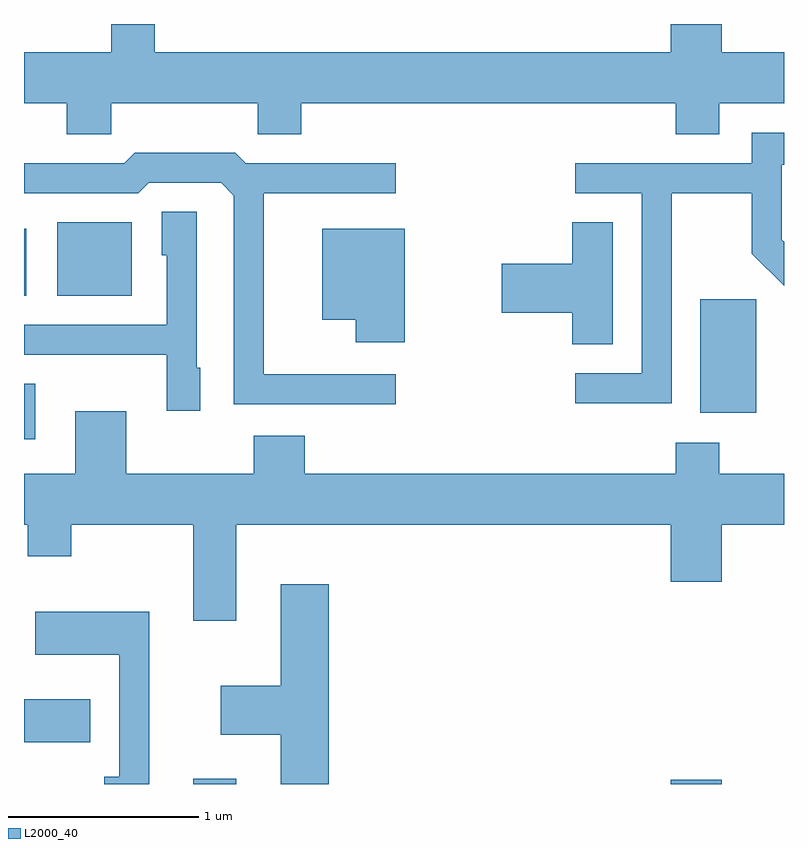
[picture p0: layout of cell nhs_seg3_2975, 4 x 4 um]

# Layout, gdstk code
import gdstk
lib = gdstk.Library(unit=1e-6, precision=1e-09)
def R(c, l, rs):  # rectangles x0, y0, x1, y1
    for r in rs: c.add(gdstk.rectangle(r[:2], r[2:], *l))
def P(c, l, *ps):  # polygons
    for p in ps: c.add(gdstk.Polygon(p, *l))
L2000_40 = (2000, 40)

nhs_seg3_2975 = lib.new_cell('nhs_seg3_2975')
R(nhs_seg3_2975, L2000_40, [(272.501,1217.892,272.729,1217.919), (275.016,1217.892,275.284,1217.914), (271.611,1218.111,271.959,1218.339), (271.611,1219.706,271.669,1219.999), (275.171,1219.846,275.464,1220.444), (271.611,1220.461,271.624,1220.814), (271.786,1220.461,272.179,1220.849)])
P(nhs_seg3_2975, L2000_40, [(272.069,1221.476),(272.841,1221.476),(272.841,1221.311),(273.069,1221.311),(273.069,1221.476),(275.041,1221.476),(275.041,1221.311),(275.269,1221.311),(275.269,1221.476),(275.611,1221.476),(275.611,1221.744),(275.284,1221.744),(275.284,1221.892),(275.016,1221.892),(275.016,1221.744),(272.299,1221.744),(272.299,1221.892),(272.071,1221.892),(272.071,1221.744),(271.611,1221.744),(271.611,1221.476),(271.836,1221.476),(271.836,1221.311),(272.069,1221.311)],
  [(275.019,1221.001),(275.441,1221.001),(275.441,1220.684),(275.611,1220.514),(275.611,1220.745),(275.599,1220.757),(275.599,1221.151),(275.611,1221.151),(275.611,1221.319),(275.441,1221.319),(275.441,1221.159),(274.513,1221.159),(274.513,1221.001),(274.861,1221.001),(274.861,1220.054),(274.513,1220.054),(274.513,1219.896),(275.019,1219.896)],
  [(273.568,1220.049),(272.874,1220.049),(272.874,1221.001),(273.568,1221.001),(273.568,1221.159),(272.777,1221.159),(272.722,1221.214),(272.194,1221.214),(272.139,1221.159),(271.611,1221.159),(271.611,1221.001),(272.212,1221.001),(272.267,1221.056),(272.649,1221.056),(272.716,1220.989),(272.716,1219.891),(273.568,1219.891)],
  [(272.539,1220.084),(272.519,1220.084),(272.519,1220.904),(272.336,1220.904),(272.336,1220.676),(272.361,1220.676),(272.361,1220.309),(271.611,1220.309),(271.611,1220.151),(272.361,1220.151),(272.361,1219.856),(272.539,1219.856)],
  [(274.709,1220.849),(274.496,1220.849),(274.496,1220.629),(274.126,1220.629),(274.126,1220.371),(274.496,1220.371),(274.496,1220.206),(274.709,1220.206)],
  [(273.614,1220.814),(273.181,1220.814),(273.181,1220.336),(273.356,1220.336),(273.356,1220.216),(273.614,1220.216)],
  [(272.729,1219.256),(275.016,1219.256),(275.016,1218.956),(275.284,1218.956),(275.284,1219.256),(275.611,1219.256),(275.611,1219.524),(275.269,1219.524),(275.269,1219.689),(275.041,1219.689),(275.041,1219.524),(273.089,1219.524),(273.089,1219.724),(272.821,1219.724),(272.821,1219.524),(272.149,1219.524),(272.149,1219.854),(271.881,1219.854),(271.881,1219.524),(271.611,1219.524),(271.611,1219.256),(271.631,1219.256),(271.631,1219.091),(271.859,1219.091),(271.859,1219.256),(272.501,1219.256),(272.501,1218.751),(272.729,1218.751)],
  [(273.214,1218.944),(272.961,1218.944),(272.961,1218.409),(272.646,1218.409),(272.646,1218.151),(272.961,1218.151),(272.961,1217.892),(273.214,1217.892)],
  [(272.269,1218.799),(271.671,1218.799),(271.671,1218.571),(272.111,1218.571),(272.111,1217.929),(272.033,1217.929),(272.033,1217.892),(272.269,1217.892)])

lib.write_gds('nhs_seg3_2975.gds')
